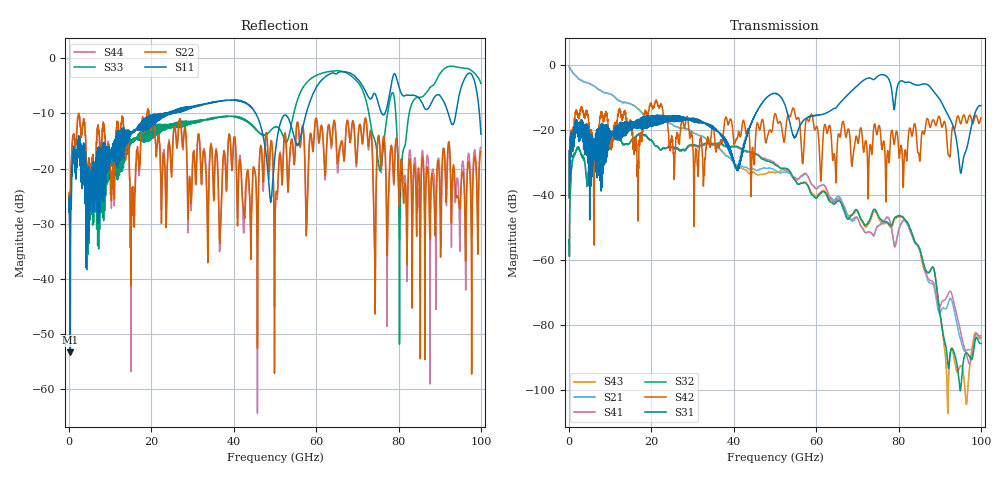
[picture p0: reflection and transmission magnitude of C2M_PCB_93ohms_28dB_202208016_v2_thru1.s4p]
! Info: Touchstone file created by Circ.  Input file=Intel_C2M_200G_12p0in_202208016_staggered.circ
# Hz S RI R 50
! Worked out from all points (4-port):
!   10000 points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, 10 MHz to 100 GHz, reference 50 ohm
!   strongest paths, dB at 10 MHz, 25.01 GHz, 50.01 GHz, 75.01 GHz, 100 GHz:
!     S31: -40.8, -16.8, -8.7, -3.4, -12.5
!     S42: -40.8, -23.4, -15.0, -19.7, -16.3
!     S32: -55.1, -25.3, -30.8, -46.2, -85.8
!     S41: -55.1, -25.6, -30.3, -49.6, -83.3
!     S21: -0.4, -18.3, -32.5, -49.6, -84.0
!     S43: -0.4, -18.2, -33.2, -46.7, -84.1
!   lowest |S11| = -53.3 dB at 290 MHz (marker M1), VSWR 1.00, Z = 50.2 - j0.0929 ohm
!   |S11| at or under -10 dB: start of sweep to 22.96 GHz; 45.33 GHz to 57.58 GHz (12.26 GHz wide, 23.8 % of centre); 92.07 GHz to 93.94 GHz (1.87 GHz wide, 2.01 % of centre)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
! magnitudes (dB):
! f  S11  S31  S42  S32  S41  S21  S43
! 10 MHz  -27.9  -40.8  -40.8  -55.1  -55.1  -0.4  -0.4
! 290 MHz  -53.3  -22.7  -22.0  -39.0  -39.0  -1.2  -1.2
! 40.81 GHz  -7.6  -32.4  -22.8  -25.0  -25.4  -30.8  -31.2
! 49.45 GHz  -22.4  -8.8  -19.1  -30.2  -29.6  -32.0  -33.0
! 86.83 GHz  -9.3  -5.9  -16.8  -63.6  -64.8  -65.3  -64.2
! 95.18 GHz  -5.4  -33.2  -18.0  -98.9  -82.8  -85.0  -92.6
! 100 GHz  -13.8  -12.5  -16.3  -85.8  -83.3  -84.0  -84.1
